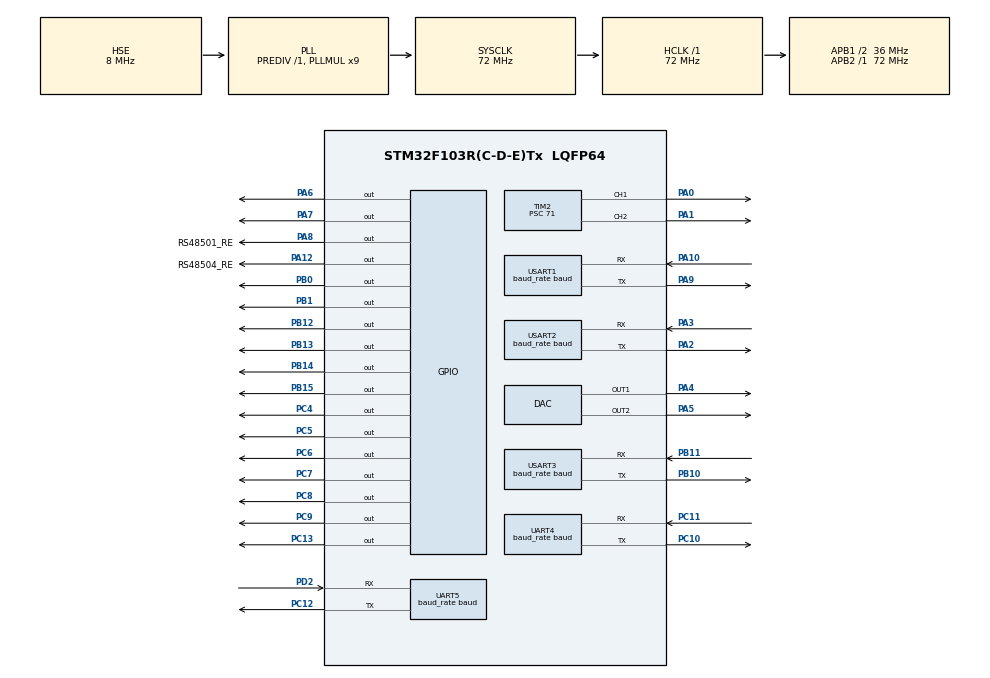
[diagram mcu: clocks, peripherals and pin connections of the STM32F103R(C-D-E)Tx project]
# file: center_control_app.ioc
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DAC.DAC_Trigger=DAC_TRIGGER_NONE
DAC.DAC_Trigger2=DAC_TRIGGER_NONE
Dma.Request0=USART1_RX
Dma.Request1=UART4_RX
Dma.UART4_RX.1.Direction=DMA_PERIPH_TO_MEMORY
Dma.UART4_RX.1.Instance=DMA2_Channel3
Dma.UART4_RX.1.MemDataAlignment=DMA_MDATAALIGN_BYTE
Dma.UART4_RX.1.MemInc=DMA_MINC_ENABLE
Dma.UART4_RX.1.Mode=DMA_NORMAL
Dma.UART4_RX.1.PeriphDataAlignment=DMA_PDATAALIGN_BYTE
Dma.UART4_RX.1.PeriphInc=DMA_PINC_DISABLE
Dma.UART4_RX.1.Priority=DMA_PRIORITY_LOW
Dma.USART1_RX.0.Direction=DMA_PERIPH_TO_MEMORY
Dma.USART1_RX.0.Instance=DMA1_Channel5
Dma.USART1_RX.0.MemDataAlignment=DMA_MDATAALIGN_BYTE
Dma.USART1_RX.0.MemInc=DMA_MINC_ENABLE
Dma.USART1_RX.0.Mode=DMA_NORMAL
Dma.USART1_RX.0.PeriphDataAlignment=DMA_PDATAALIGN_BYTE
Dma.USART1_RX.0.PeriphInc=DMA_PINC_DISABLE
Dma.USART1_RX.0.Priority=DMA_PRIORITY_LOW
FREERTOS.Tasks01=Subsystem_Task,0,128,Subsystem_Handler,Default,NULL,Dynamic,NULL,NULL;SOC_Monitor_Tas,1,256,SOC_Monitor_Handler,Default,NULL,Dynamic,NULL,NULL;Main_Task,-1,128,Main_Handler,Default,NULL,Dynamic,NULL,NULL
FREERTOS.configMAX_PRIORITIES=5
FREERTOS.configMINIMAL_STACK_SIZE=128
FREERTOS.configUSE_TICK_HOOK=1
IWDG.Prescaler=IWDG_PRESCALER_16
Mcu.Family=STM32F1
Mcu.Name=STM32F103R(C-D-E)Tx
Mcu.Package=LQFP64
NVIC.DMA1_Channel5_IRQn=true\:5\:0\:false\:false\:true\:true\:false\:true\:true
NVIC.DMA2_Channel3_IRQn=true\:5\:0\:false\:false\:true\:true\:false\:true\:true
NVIC.PriorityGroup=NVIC_PRIORITYGROUP_4
NVIC.TIM1_UP_IRQn=true\:15\:0\:true\:false\:true\:false\:false\:true\:true
NVIC.TIM3_IRQn=true\:5\:0\:false\:false\:true\:true\:true\:true\:true
NVIC.TIM4_IRQn=true\:4\:0\:true\:false\:true\:false\:true\:true\:true
NVIC.TIM5_IRQn=true\:5\:0\:false\:false\:true\:true\:true\:true\:true
NVIC.TimeBase=TIM1_UP_IRQn
NVIC.TimeBaseIP=TIM1
NVIC.UART4_IRQn=true\:6\:0\:true\:false\:true\:true\:true\:true\:true
NVIC.UART5_IRQn=true\:5\:0\:true\:false\:true\:true\:true\:true\:true
NVIC.USART1_IRQn=true\:6\:0\:true\:false\:true\:false\:true\:true\:true
NVIC.USART2_IRQn=true\:5\:0\:false\:false\:true\:true\:true\:true\:true
NVIC.USART3_IRQn=true\:15\:0\:true\:false\:true\:true\:true\:true\:true
PA0-WKUP.Signal=S_TIM2_CH1_ETR
PA1.Signal=S_TIM2_CH2
PA10.Mode=Asynchronous
PA10.Signal=USART1_RX
PA12.GPIO_Label=RS48504_RE
PA12.GPIO_Speed=GPIO_SPEED_FREQ_HIGH
PA12.Signal=GPIO_Output
PA13.Mode=JTAG_4_pins
PA13.Signal=SYS_JTMS-SWDIO
PA14.Mode=JTAG_4_pins
PA14.Signal=SYS_JTCK-SWCLK
PA15.Mode=JTAG_4_pins
PA15.Signal=SYS_JTDI
PA2.Mode=Asynchronous
PA2.Signal=USART2_TX
PA3.Mode=Asynchronous
PA3.Signal=USART2_RX
PA4.Signal=COMP_DAC1_group
PA5.Signal=COMP_DAC2_group
PA6.Signal=GPIO_Output
PA7.Signal=GPIO_Output
PA8.GPIO_Label=RS48501_RE
PA8.GPIO_Speed=GPIO_SPEED_FREQ_HIGH
PA8.Signal=GPIO_Output
PA9.Mode=Asynchronous
PA9.Signal=USART1_TX
PB0.Signal=GPIO_Output
PB1.Signal=GPIO_Output
PB10.Mode=Asynchronous
PB10.Signal=USART3_TX
PB11.Mode=Asynchronous
PB11.Signal=USART3_RX
PB12.Signal=GPIO_Output
PB13.Signal=GPIO_Output
PB14.Signal=GPIO_Output
PB15.Signal=GPIO_Output
PB3.Mode=JTAG_4_pins
PB3.Signal=SYS_JTDO-TRACESWO
PB4.Signal=SYS_NJTRST
PC10.Mode=Asynchronous
PC10.Signal=UART4_TX
PC11.Mode=Asynchronous
PC11.Signal=UART4_RX
PC12.Mode=Asynchronous
PC12.Signal=UART5_TX
PC13-TAMPER-RTC.Signal=GPIO_Output
PC14-OSC32_IN.Mode=LSE-External-Oscillator
PC14-OSC32_IN.Signal=RCC_OSC32_IN
PC15-OSC32_OUT.Mode=LSE-External-Oscillator
PC15-OSC32_OUT.Signal=RCC_OSC32_OUT
PC4.Signal=GPIO_Output
PC5.Signal=GPIO_Output
PC6.Signal=GPIO_Output
PC7.Signal=GPIO_Output
PC8.Signal=GPIO_Output
PC9.Signal=GPIO_Output
PD0-OSC_IN.Mode=HSE-External-Oscillator
PD0-OSC_IN.Signal=RCC_OSC_IN
PD1-OSC_OUT.Mode=HSE-External-Oscillator
PD1-OSC_OUT.Signal=RCC_OSC_OUT
PD2.Mode=Asynchronous
PD2.Signal=UART5_RX
ProjectManager.HeapSize=0x200
ProjectManager.StackSize=0x400
ProjectManager.TargetToolchain=MDK-ARM V5.27
RCC.AHBFreq_Value=72000000
RCC.APB1CLKDivider=RCC_HCLK_DIV2
RCC.APB1Freq_Value=36000000
RCC.APB1TimFreq_Value=72000000
RCC.APB2Freq_Value=72000000
RCC.APB2TimFreq_Value=72000000
RCC.HCLKFreq_Value=72000000
RCC.PLLMUL=RCC_PLL_MUL9
RCC.PLLSourceVirtual=RCC_PLLSOURCE_HSE
RCC.SYSCLKFreq_VALUE=72000000
RCC.SYSCLKSource=RCC_SYSCLKSOURCE_PLLCLK
RCC.USBFreq_Value=72000000
SH.COMP_DAC1_group.0=DAC_OUT1,DAC_OUT1
SH.COMP_DAC2_group.0=DAC_OUT2,DAC_OUT2
SH.S_TIM2_CH1_ETR.0=TIM2_CH1,PWM Generation1 CH1
SH.S_TIM2_CH2.0=TIM2_CH2,PWM Generation2 CH2
TIM2.AutoReloadPreload=TIM_AUTORELOAD_PRELOAD_ENABLE
TIM2.Channel-PWM\ Generation1\ CH1=TIM_CHANNEL_1
TIM2.Channel-PWM\ Generation2\ CH2=TIM_CHANNEL_2
TIM2.Period=499
TIM2.Prescaler=71
TIM2.Pulse-PWM\ Generation1\ CH1=0
TIM3.Period=50-1
TIM3.Prescaler=275-1
TIM4.AutoReloadPreload=TIM_AUTORELOAD_PRELOAD_ENABLE
TIM4.Period=36-1
TIM4.Prescaler=7200-1
TIM4.TIM_MasterOutputTrigger=TIM_TRGO_RESET
TIM5.Period=49
TIM5.Prescaler=7199
UART4.BaudRate=baud_rate
UART4.StopBits=UART_STOPBITS_1
UART4.VirtualMode=Asynchronous
UART4.WordLength=WORDLENGTH_8B
UART5.BaudRate=baud_rate
UART5.VirtualMode=Asynchronous
USART1.BaudRate=baud_rate
USART1.VirtualMode=VM_ASYNC
USART1.WordLength=WORDLENGTH_8B
USART2.BaudRate=baud_rate
USART2.StopBits=STOPBITS_1
USART2.VirtualMode=VM_ASYNC
USART3.BaudRate=baud_rate
USART3.VirtualMode=VM_ASYNC
VP_CRC_VS_CRC.Mode=CRC_Activate
VP_FREERTOS_VS_CMSIS_V1.Mode=CMSIS_V1
VP_IWDG_VS_IWDG.Mode=IWDG_Activate
VP_SYS_VS_tim1.Mode=TIM1
VP_TIM2_VS_ClockSourceINT.Mode=Internal
VP_TIM3_VS_ClockSourceINT.Mode=Internal
VP_TIM4_VS_ClockSourceINT.Mode=Internal
VP_TIM5_VS_ClockSourceINT.Mode=Internal
board=custom

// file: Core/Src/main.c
/* USER CODE BEGIN Header */
/**
  ******************************************************************************
  * @file           : main.c
  * @brief          : Main program body
  ******************************************************************************
  * @attention
  *
  * <h2><center>&copy; Copyright (c) 2021 STMicroelectronics.
  * All rights reserved.</center></h2>
  *
  * This software component is licensed by ST under BSD 3-Clause license,
  * the "License"; You may not use this file except in compliance with the
  * License. You may obtain a copy of the License at:
  *                        opensource.org/licenses/BSD-3-Clause
  *
  ******************************************************************************
  */
/* USER CODE END Header */
#include "main.h"
#include "cmsis_os.h"
#include "crc.h"
#include "dac.h"
#include "dma.h"
#include "iwdg.h"
#include "tim.h"
#include "usart.h"
#include "gpio.h"

/* USER CODE BEGIN Includes */
//#include "modbus.h"
/* USER CODE END Includes */

/* USER CODE BEGIN PD */
extern void prvvTIMERExpiredISR( void );
/* USER CODE END PD */

void SystemClock_Config(void);
void MX_FREERTOS_Init(void);
/* USER CODE BEGIN PFP */

extern void Modbus_Buffer_Init(void);
extern void Dev_Information_Init(void);

/* USER CODE END PFP */

int main(void)
{
  /* USER CODE BEGIN 1 */
	SCB->VTOR = FLASH_BASE | 0x8000;
	__enable_irq();
	HAL_DeInit();

  /* USER CODE END 1 */

  /* MCU Configuration--------------------------------------------------------*/

  /* Reset of all peripherals, Initializes the Flash interface and the Systick. */
  HAL_Init();

  /* Configure the system clock */
  SystemClock_Config();

  /* USER CODE BEGIN SysInit */
	Modbus_Buffer_Init();
	Dev_Information_Init();

  /* USER CODE END SysInit */

  /* Initialize all configured peripherals */
  MX_GPIO_Init();
  MX_DMA_Init();
  MX_USART1_UART_Init();
  MX_DAC_Init();
  MX_TIM2_Init();
  MX_UART4_Init();
  MX_UART5_Init();
  MX_USART2_UART_Init();
  MX_USART3_UART_Init();
  MX_TIM4_Init();
  MX_TIM5_Init();
  MX_CRC_Init();
  MX_TIM3_Init();
  MX_IWDG_Init();

  /* Call init function for freertos objects (in freertos.c) */
  MX_FREERTOS_Init();

  /* Start scheduler */
  osKernelStart();

  /* We should never get here as control is now taken by the scheduler */
  /* Infinite loop */
  while (1)
  {

    /* USER CODE BEGIN 3 */
//		HAL_WWDG_Refresh(&hwwdg);
  }
  /* USER CODE END 3 */
}

void SystemClock_Config(void)
{
  RCC_OscInitTypeDef RCC_OscInitStruct = {0};
  RCC_ClkInitTypeDef RCC_ClkInitStruct = {0};

  /** Initializes the RCC Oscillators according to the specified parameters
  * in the RCC_OscInitTypeDef structure.
  */
  RCC_OscInitStruct.OscillatorType = RCC_OSCILLATORTYPE_LSI|RCC_OSCILLATORTYPE_HSE;
  RCC_OscInitStruct.HSEState = RCC_HSE_ON;
  RCC_OscInitStruct.HSEPredivValue = RCC_HSE_PREDIV_DIV1;
  RCC_OscInitStruct.HSIState = RCC_HSI_ON;
  RCC_OscInitStruct.LSIState = RCC_LSI_ON;
  RCC_OscInitStruct.PLL.PLLState = RCC_PLL_ON;
  RCC_OscInitStruct.PLL.PLLSource = RCC_PLLSOURCE_HSE;
  RCC_OscInitStruct.PLL.PLLMUL = RCC_PLL_MUL9;
  if (HAL_RCC_OscConfig(&RCC_OscInitStruct) != HAL_OK)
  {
    Error_Handler();
  }

  /** Initializes the CPU, AHB and APB buses clocks
  */
  RCC_ClkInitStruct.ClockType = RCC_CLOCKTYPE_HCLK|RCC_CLOCKTYPE_SYSCLK
                              |RCC_CLOCKTYPE_PCLK1|RCC_CLOCKTYPE_PCLK2;
  RCC_ClkInitStruct.SYSCLKSource = RCC_SYSCLKSOURCE_PLLCLK;
  RCC_ClkInitStruct.AHBCLKDivider = RCC_SYSCLK_DIV1;
  RCC_ClkInitStruct.APB1CLKDivider = RCC_HCLK_DIV2;
  RCC_ClkInitStruct.APB2CLKDivider = RCC_HCLK_DIV1;

  if (HAL_RCC_ClockConfig(&RCC_ClkInitStruct, FLASH_LATENCY_2) != HAL_OK)
  {
    Error_Handler();
  }
}

/* USER CODE BEGIN 4 */
//void HAL_UART_RxCpltCallback(UART_HandleTypeDef *huart)
//{
//	uint16_t crc_value=0;
//  /* Prevent unused argument(s) compilation warning */
//  UNUSED(huart);
//  /* NOTE: This function Should not be modified, when the callback is needed,
//	the HAL_UART_TxCpltCallback could be implemented in the user file*/
//	if(Uart1_Rx_Cnt >= 255)  //溢出判断
//	{
//		Uart1_Rx_Cnt = 0;
//		memset(Uart1_RxBuff,0x00,sizeof(Uart1_RxBuff));
//		HAL_UART_Transmit(&huart1, (uint8_t *)&cAlmStr, sizeof(cAlmStr),0xFFFF);
//	}
//	else
//	{
//		Uart1_RxBuff[Uart1_Rx_Cnt++] = aRxBuffer;   //接收数据转存
//		// HAL_CRC_Calculate() 函数在每次计算时，对DR寄存器进行了复位，而HAL_CRC_Accumulate() 函数没有，因此在使用时就要根据需求来选择相应的函数了。
//		crc_value = HAL_CRC_Calculate(&hcrc, (uint32_t *)Uart1_RxBuff, Uart1_Rx_Cnt-2);
//		if((Uart1_RxBuff[Uart1_Rx_Cnt-1] == (crc_value&0xff))&&(Uart1_RxBuff[Uart1_Rx_Cnt-2] == ((crc_value>>8)&0xff))) //crc校验
//		{
//			HAL_UART_Transmit(&huart1, (uint8_t *)&Uart1_RxBuff, Uart1_Rx_Cnt,0xFFFF); //将收到的信息发送出去
//			Uart1_Rx_Cnt = 0;
//			memset(Uart1_RxBuff,0x00,sizeof(Uart1_RxBuff)); //清空数组
//		}
//	}
//	HAL_UART_Receive_IT(&huart1, (uint8_t *)&aRxBuffer, 1);   //再开启接收中断
//}
/* USER CODE END 4 */

void HAL_TIM_PeriodElapsedCallback(TIM_HandleTypeDef *htim)
{
  if (htim->Instance == TIM1) {
    HAL_IncTick();
  }
  /* USER CODE BEGIN Callback 1 */
	if (htim->Instance == TIM4) {
    prvvTIMERExpiredISR();
  }
  /* USER CODE END Callback 1 */
}

void Error_Handler(void)
{
  __disable_irq();
  while (1)
  {
  }
}

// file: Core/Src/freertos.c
/* USER CODE BEGIN Header */
/**
  ******************************************************************************
  * File Name          : freertos.c
  * Description        : Code for freertos applications
  ******************************************************************************
  * @attention
  *
  * Copyright (c) 2023 STMicroelectronics.
  * All rights reserved.
  *
  * This software is licensed under terms that can be found in the LICENSE file
  * in the root directory of this software component.
  * If no LICENSE file comes with this software, it is provided AS-IS.
  *
  ******************************************************************************
  */
/* USER CODE END Header */

#include "FreeRTOS.h"
#include "task.h"
#include "main.h"
#include "cmsis_os.h"

/* USER CODE BEGIN Includes */
#include "iap.h"
#include "iwdg.h"
#include "gpio.h"
#include "pump.h"
#include "dev.h"
#include "modbus.h"
#include "subsystem.h"

/* USER CODE END Includes */

osThreadId Subsystem_TaskHandle;
osThreadId SOC_Monitor_TasHandle;
osThreadId Main_TaskHandle;

void Subsystem_Handler(void const * argument);
void SOC_Monitor_Handler(void const * argument);
void Main_Handler(void const * argument);

void MX_FREERTOS_Init(void); /* (MISRA C 2004 rule 8.1) */

/* GetIdleTaskMemory prototype (linked to static allocation support) */
void vApplicationGetIdleTaskMemory( StaticTask_t **ppxIdleTaskTCBBuffer, StackType_t **ppxIdleTaskStackBuffer, uint32_t *pulIdleTaskStackSize );

/* Hook prototypes */
void vApplicationTickHook(void);

/* USER CODE BEGIN 3 */
__weak void vApplicationTickHook( void )
{
   /* This function will be called by each tick interrupt if
   configUSE_TICK_HOOK is set to 1 in FreeRTOSConfig.h. User code can be
   added here, but the tick hook is called from an interrupt context, so
   code must not attempt to block, and only the interrupt safe FreeRTOS API
   functions can be used (those that end in FromISR()). */
}
/* USER CODE END 3 */

/* USER CODE BEGIN GET_IDLE_TASK_MEMORY */
static StaticTask_t xIdleTaskTCBBuffer;
static StackType_t xIdleStack[configMINIMAL_STACK_SIZE];

void vApplicationGetIdleTaskMemory( StaticTask_t **ppxIdleTaskTCBBuffer, StackType_t **ppxIdleTaskStackBuffer, uint32_t *pulIdleTaskStackSize )
{
  *ppxIdleTaskTCBBuffer = &xIdleTaskTCBBuffer;
  *ppxIdleTaskStackBuffer = &xIdleStack[0];
  *pulIdleTaskStackSize = configMINIMAL_STACK_SIZE;
  /* place for user code */
}
/* USER CODE END GET_IDLE_TASK_MEMORY */

void MX_FREERTOS_Init(void) {

  /* Create the thread(s) */
  /* definition and creation of Subsystem_Task */
  osThreadDef(Subsystem_Task, Subsystem_Handler, osPriorityNormal, 0, 128);
  Subsystem_TaskHandle = osThreadCreate(osThread(Subsystem_Task), NULL);

  /* definition and creation of SOC_Monitor_Tas */
  osThreadDef(SOC_Monitor_Tas, SOC_Monitor_Handler, osPriorityAboveNormal, 0, 256);
  SOC_Monitor_TasHandle = osThreadCreate(osThread(SOC_Monitor_Tas), NULL);

  /* definition and creation of Main_Task */
  osThreadDef(Main_Task, Main_Handler, osPriorityBelowNormal, 0, 128);
  Main_TaskHandle = osThreadCreate(osThread(Main_Task), NULL);

}

void Subsystem_Handler(void const * argument)
{
  /* USER CODE BEGIN Subsystem_Handler */
	Subsystem_Init();
  /* Infinite loop */
  while(1)
  {
		Subsystem_Handler_Task();
    osDelay(THREAD_PERIOD_DMX512_HUART);
  }
  /* USER CODE END Subsystem_Handler */
}

void SOC_Monitor_Handler(void const * argument)
{
  /* USER CODE BEGIN SOC_Monitor_Handler */
	Modbus_Init();

  /* Infinite loop */
  while(1)
  {
		Modbus_Handle_Task();

    osDelay(THREAD_PERIOD_MODBUS_USART);
#ifndef SYSTEM_HARDWARE_DEBUG
            led_off();
#endif
  }
  /* USER CODE END SOC_Monitor_Handler */
}

void Main_Handler(void const * argument)
{
  /* USER CODE BEGIN Main_Handler */

	Call_PUMP_Handle_Init();
	Set_Software_Version(SOFTWARE_VERSION_UINT32);

  /* Infinite loop */
  while(1)
  {
		HAL_IWDG_Refresh(&hiwdg);
#ifdef SYSTEM_HARDWARE_DEBUG
		PUMP_Hardware_Debug();
#else
		Call_PUMP_Handle_Task();
#endif
		osDelay(THREAD_PERIOD_MAIN_PUMP_TASK);
  }

  /* USER CODE END Main_Handler */
}
